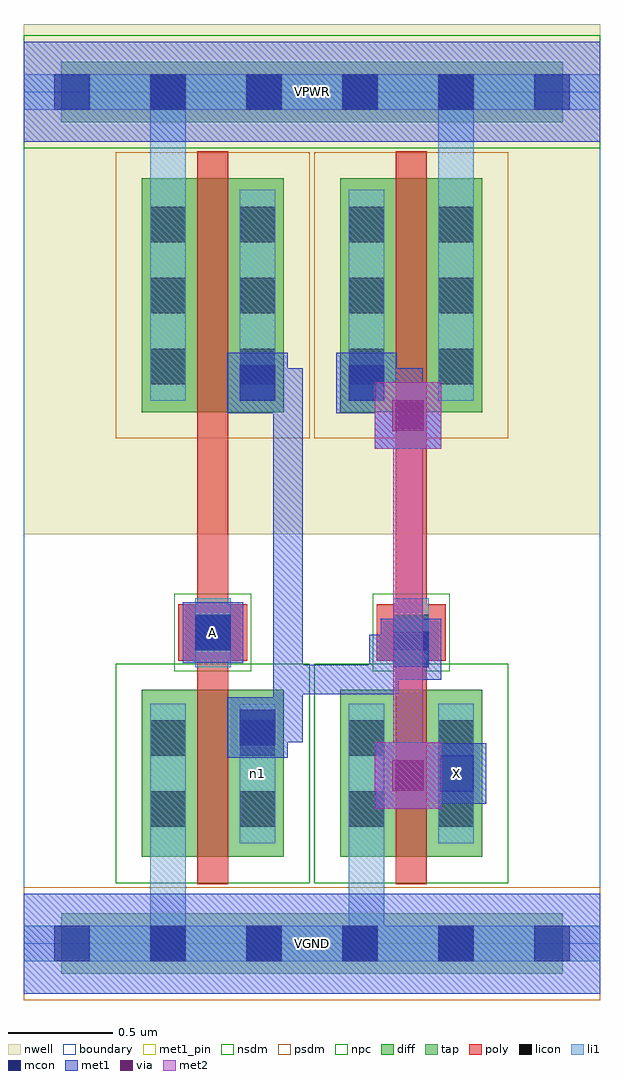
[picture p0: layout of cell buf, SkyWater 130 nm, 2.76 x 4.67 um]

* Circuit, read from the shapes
.subckt buf A VGND VPWR X n1
XM1 n1 A VGND VGND sky130_fd_pr__nfet_01v8 w=0.8 l=0.15
XM2 X n1 VGND VGND sky130_fd_pr__nfet_01v8 w=0.8 l=0.15
XM3 n1 A VPWR VPWR sky130_fd_pr__pfet_01v8 w=1.12 l=0.15
XM4 VPWR n1 X VPWR sky130_fd_pr__pfet_01v8 w=1.12 l=0.15
.ends

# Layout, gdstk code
import gdstk
lib = gdstk.Library(unit=1e-6, precision=1e-09)
def R(c, l, rs):  # rectangles x0, y0, x1, y1
    for r in rs: c.add(gdstk.rectangle(r[:2], r[2:], *l))
def A(c, l, x, y, w, h, nx, ny, dx, dy):  # array of equal rectangles
    R(c, l, [(x+i*dx, y+j*dy, x+i*dx+w, y+j*dy+h) for i in range(nx) for j in range(ny)])
nwell = (64, 20)
diff = (65, 20)
tap = (65, 44)
poly = (66, 20)
licon = (66, 44)
li1 = (67, 20)
mcon = (67, 44)
met1_pin = (68, 16)
met1 = (68, 20)
via = (68, 44)
met2 = (69, 20)
nsdm = (93, 44)
psdm = (94, 20)
npc = (95, 20)
boundary = (235, 4)

buf = lib.new_cell('buf')
R(buf, nwell, [(0,1.96,2.76,4.405)])
R(buf, diff, [(0.565,0.415,1.245,1.215), (1.515,0.415,2.195,1.215), (0.565,2.545,1.245,3.665), (1.515,2.545,2.195,3.665)])
R(buf, tap, [(0.18,-0.145,2.58,0.145), (0.18,3.935,2.58,4.225)])
R(buf, poly, [(0.83,0.285,0.98,3.795), (1.78,0.285,1.93,3.795), (0.74,1.355,1.07,1.625), (1.69,1.355,2.02,1.625)])
A(buf, licon, 0.605, -0.085, 0.17, 0.17, 4, 2, 0.46, 4.08)
A(buf, licon, 0.605, 2.68, 0.17, 0.17, 1, 3, 0, 0.34)
A(buf, licon, 1.035, 2.68, 0.17, 0.17, 1, 3, 0, 0.34)
A(buf, licon, 1.555, 2.68, 0.17, 0.17, 1, 3, 0, 0.34)
A(buf, licon, 1.985, 2.68, 0.17, 0.17, 1, 3, 0, 0.34)
R(buf, licon, [(0.605,0.56,0.775,0.73), (1.035,0.56,1.205,0.73), (1.555,0.56,1.725,0.73), (1.985,0.56,2.155,0.73), (0.605,0.9,0.775,1.07), (1.035,0.9,1.205,1.07), (1.555,0.9,1.725,1.07), (1.985,0.9,2.155,1.07), (0.82,1.405,0.99,1.575), (1.77,1.405,1.94,1.575)])
R(buf, li1, [(0,-0.085,2.76,0.085), (0.605,-0.085,0.775,1.15), (1.555,-0.085,1.725,1.15), (0.605,0.48,0.775,1.15), (1.035,0.48,1.205,1.15), (1.555,0.48,1.725,1.15), (1.985,0.48,2.155,1.15), (0.82,1.325,0.99,1.655), (1.77,1.325,1.94,1.655), (0.605,2.6,0.775,3.61), (0.605,2.6,0.775,4.165), (1.035,2.6,1.205,3.61), (1.555,2.6,1.725,3.61), (1.985,2.6,2.155,3.61), (1.985,2.6,2.155,4.165), (0,3.995,2.76,4.165)])
A(buf, mcon, 0.145, -0.085, 0.17, 0.17, 6, 2, 0.46, 4.08)
R(buf, mcon, [(1.985,0.73,2.155,0.9), (1.035,0.95,1.205,1.12), (1.77,1.325,1.94,1.495), (0.82,1.405,0.99,1.575), (1.035,2.6,1.205,2.77), (1.555,2.6,1.725,2.77)])
R(buf, met1_pin, [(0,-0.24,2.76,0.24), (1.925,0.67,2.215,0.96), (0.76,1.345,1.05,1.635), (0,3.84,2.76,4.32)])
R(buf, met1, [(0,-0.24,2.76,0.24), (1.68,0.645,2,0.965), (1.925,0.67,2.215,0.96), (1.77,0.735,2.14,0.875), (2,0.735,2.14,0.875), (0.975,0.89,1.265,1.18), (1.05,0.965,1.335,1.105), (1.195,0.965,1.335,1.335), (1.195,1.195,1.795,1.335), (1.195,1.195,1.335,2.6), (1.655,1.195,1.795,1.48), (1.71,1.265,2,1.555), (1.655,1.34,1.925,1.48), (0.76,1.345,1.05,1.635), (1.68,2.37,2,2.69), (1.195,2.46,1.335,2.755), (1.77,2.46,1.91,2.755), (0.975,2.54,1.265,2.83), (1.495,2.54,1.785,2.83), (1.05,2.615,1.335,2.755), (1.57,2.615,1.91,2.755), (0,3.84,2.76,4.32)])
R(buf, via, [(1.765,0.73,1.915,0.88), (1.765,2.455,1.915,2.605)])
R(buf, met2, [(1.68,0.645,2,0.965), (1.77,0.735,1.91,2.6), (1.68,2.37,2,2.69)])
R(buf, nsdm, [(0.44,0.29,1.37,1.34), (1.39,0.29,2.32,1.34), (0,3.81,2.76,4.35)])
R(buf, psdm, [(0,-0.27,2.76,0.27), (0.44,2.42,1.37,3.79), (1.39,2.42,2.32,3.79)])
R(buf, npc, [(0.72,1.305,1.09,1.675), (1.67,1.305,2.04,1.675)])
R(buf, boundary, [(0,0,2.76,4.08)])
buf.add(gdstk.Label('n1', (1.12,0.815), layer=67, texttype=5))
buf.add(gdstk.Label('A', (0.905,1.49), layer=68, texttype=5))
buf.add(gdstk.Label('X', (2.07,0.815), layer=68, texttype=5))
buf.add(gdstk.Label('VPWR', (1.38,4.08), layer=68, texttype=5))
buf.add(gdstk.Label('VGND', (1.38,0), layer=68, texttype=5))
buf.add(gdstk.Label('A', (0.905,1.49), layer=68, texttype=16))
buf.add(gdstk.Label('X', (2.07,0.815), layer=68, texttype=16))
buf.add(gdstk.Label('VPWR', (1.38,4.08), layer=68, texttype=16))
buf.add(gdstk.Label('VGND', (1.38,0), layer=68, texttype=16))

lib.write_gds('buf.gds')
